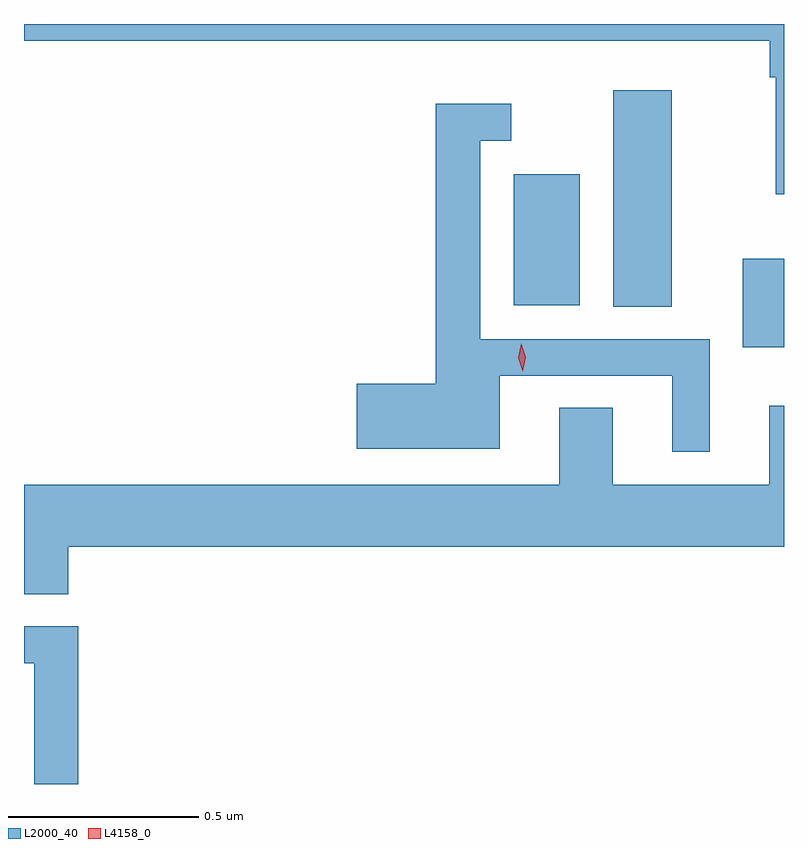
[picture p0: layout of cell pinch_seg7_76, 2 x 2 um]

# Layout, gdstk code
import gdstk
lib = gdstk.Library(unit=1e-6, precision=1e-09)
def R(c, l, rs):  # rectangles x0, y0, x1, y1
    for r in rs: c.add(gdstk.rectangle(r[:2], r[2:], *l))
def P(c, l, *ps):  # polygons
    for p in ps: c.add(gdstk.Polygon(p, *l))
L2000_40 = (2000, 40)
L4158_0 = (4158, 0)

pinch_seg7_76 = lib.new_cell('pinch_seg7_76')
R(pinch_seg7_76, L2000_40, [(942.038,1041.101,942.146,1041.334), (941.696,1041.208,941.851,1041.778), (941.435,1041.212,941.608,1041.556)])
P(pinch_seg7_76, L2000_40, [(942.146,1041.952),(940.146,1041.952),(940.146,1041.908),(942.109,1041.908),(942.109,1041.812),(942.124,1041.812),(942.124,1041.504),(942.146,1041.504)],
  [(941.95,1041.123),(941.346,1041.123),(941.346,1041.645),(941.428,1041.645),(941.428,1041.742),(941.23,1041.742),(941.23,1041.005),(941.022,1041.005),(941.022,1040.834),(941.398,1040.834),(941.398,1041.027),(941.852,1041.027),(941.852,1040.826),(941.95,1040.826)],
  [(940.262,1040.576),(942.146,1040.576),(942.146,1040.947),(942.107,1040.947),(942.107,1040.74),(941.695,1040.74),(941.695,1040.942),(941.555,1040.942),(941.555,1040.74),(940.146,1040.74),(940.146,1040.452),(940.262,1040.452)],
  [(940.289,1040.367),(940.146,1040.367),(940.146,1040.27),(940.173,1040.27),(940.173,1039.952),(940.289,1039.952)])
P(pinch_seg7_76, L4158_0, [(941.459,1041.038),(941.459,1041.038),(941.447,1041.074),(941.455,1041.11),(941.455,1041.11),(941.455,1041.11),(941.467,1041.075),(941.459,1041.038)])

lib.write_gds('pinch_seg7_76.gds')
